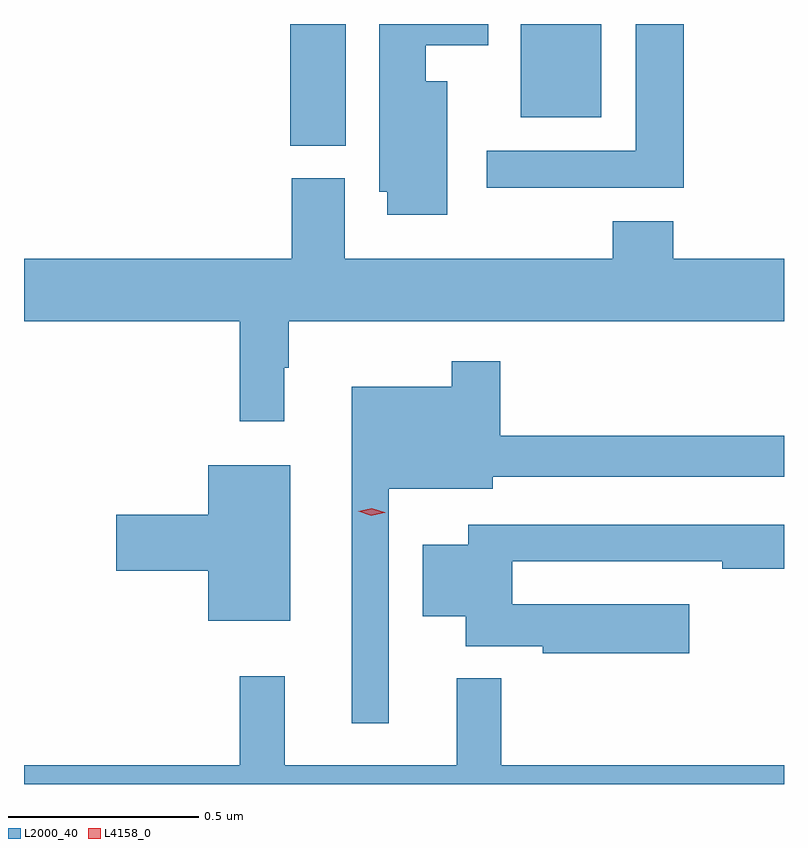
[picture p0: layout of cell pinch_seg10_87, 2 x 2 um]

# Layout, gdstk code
import gdstk
lib = gdstk.Library(unit=1e-6, precision=1e-09)
def R(c, l, rs):  # rectangles x0, y0, x1, y1
    for r in rs: c.add(gdstk.rectangle(r[:2], r[2:], *l))
def P(c, l, *ps):  # polygons
    for p in ps: c.add(gdstk.Polygon(p, *l))
L2000_40 = (2000, 40)
L4158_0 = (4158, 0)

pinch_seg10_87 = lib.new_cell('pinch_seg10_87')
R(pinch_seg10_87, L2000_40, [(747.434,1319.425,747.58,1319.746), (748.04,1319.501,748.252,1319.746)])
P(pinch_seg10_87, L2000_40, [(747.847,1319.596),(747.79,1319.596),(747.79,1319.69),(747.955,1319.69),(747.955,1319.746),(747.668,1319.746),(747.668,1319.304),(747.689,1319.304),(747.689,1319.244),(747.847,1319.244)],
  [(748.469,1319.746),(748.343,1319.746),(748.343,1319.412),(747.951,1319.412),(747.951,1319.315),(748.469,1319.315)],
  [(747.418,1318.841),(747.43,1318.841),(747.43,1318.964),(748.733,1318.964),(748.733,1319.128),(748.442,1319.128),(748.442,1319.227),(748.282,1319.227),(748.282,1319.128),(747.577,1319.128),(747.577,1319.34),(747.437,1319.34),(747.437,1319.128),(746.733,1319.128),(746.733,1318.964),(747.301,1318.964),(747.301,1318.701),(747.418,1318.701)],
  [(747.693,1318.523),(747.967,1318.523),(747.967,1318.554),(748.733,1318.554),(748.733,1318.663),(747.986,1318.663),(747.986,1318.858),(747.858,1318.858),(747.858,1318.792),(747.596,1318.792),(747.596,1317.906),(747.693,1317.906)],
  [(747.433,1318.585),(747.218,1318.585),(747.218,1318.454),(746.976,1318.454),(746.976,1318.307),(747.218,1318.307),(747.218,1318.175),(747.433,1318.175)],
  [(748.483,1318.219),(748.018,1318.219),(748.018,1318.332),(748.57,1318.332),(748.57,1318.312),(748.733,1318.312),(748.733,1318.428),(747.902,1318.428),(747.902,1318.375),(747.782,1318.375),(747.782,1318.187),(747.896,1318.187),(747.896,1318.109),(748.098,1318.109),(748.098,1318.09),(748.483,1318.09)],
  [(748.733,1317.796),(747.989,1317.796),(747.989,1318.024),(747.872,1318.024),(747.872,1317.796),(747.419,1317.796),(747.419,1318.03),(747.301,1318.03),(747.301,1317.796),(746.733,1317.796),(746.733,1317.746),(748.733,1317.746)])
P(pinch_seg10_87, L4158_0, [(747.647,1318.452),(747.612,1318.464),(747.612,1318.464),(747.612,1318.464),(747.648,1318.472),(747.682,1318.461),(747.683,1318.46),(747.682,1318.46)])

lib.write_gds('pinch_seg10_87.gds')
